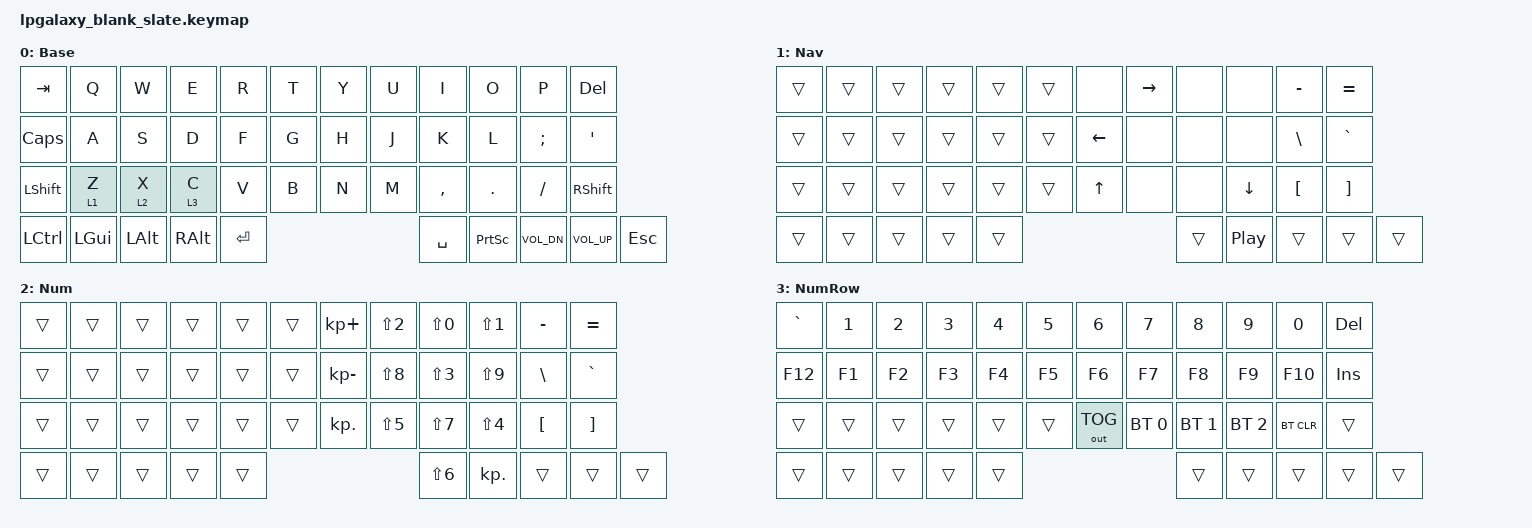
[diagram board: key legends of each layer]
/*
 * PiercingXX 4x12 ortholinear keymap — LP Galaxy Blank Slate (ZMK, 2x2u)
 *
 * Planck-footprint port of the ortho-5x12 Preonic layout: rows 2-5 carry
 * over unchanged (same 2u Enter + 2u Space thumb cluster). The lost
 * number row + F-row live on layer 3, held on the key that TYPES x
 * (physical C position) — extending the ,-key=L1 / c-key=L2 pattern.
 *
 * ARCHITECTURE: firmware sends STANDARD US-position scancodes; the
 * Piercing remap lives in the OS layout (xkb / .klc / .kcm). Do not bake
 * the letter remap into firmware or it will double-remap. Keys are named
 * here by their PHYSICAL position; the comments show what the OS renders.
 *
 * Rendered base layer:
 *   Tab  q    r    f    w   g   ;:  l   p   y   z    Del
 *   Bksp a    s    e    t   d   h   n   u   i   o    '"
 *   Shft ,L1  cL2  xL3  v   /?  k   m   b   j   .>   Shft
 *   Ctrl Super Alt AltGr [ Enter ] [ Space ] PrtSc Vol- Vol+ Esc
 *
 * L1 (hold the ,-key): vim arrows on the keys that TYPE h/j/k/l
 *     (arrows follow the letters), - = \ ` [ ] symbol column
 * L2 (hold the c-key): numpad. Digits are encoded as Shift+number-
 *     position so they still type real digits under the Piercing layout.
 *     (The Preonic's NumLock / KP-slash / KP-star row had no room here.)
 * L3 (hold the x-key): the Preonic's number row (`~ symbols/digits Del)
 *     and F-row (F12 F1-F10 Ins). Shift passes through, so Shift+top row
 *     types digits exactly like the Preonic. Right hand of the letter
 *     row: BT profile + USB/BLE output controls (ZMK-only extras).
 */

#include <behaviors.dtsi>
#include <dt-bindings/zmk/keys.h>
#include <dt-bindings/zmk/bt.h>
#include <dt-bindings/zmk/outputs.h>

/* digit -> Shift + (number key whose shifted value is that digit) */
#define PD_1 LS(N5)
#define PD_2 LS(N7)
#define PD_3 LS(N4)
#define PD_4 LS(N8)
#define PD_5 LS(N3)
#define PD_6 LS(N9)
#define PD_7 LS(N2)
#define PD_8 LS(N0)
#define PD_9 LS(N1)
#define PD_0 LS(N6)

/* comfortable held-comma / held-c / held-x repeats */
&lt { quick-tap-ms = <200>; };

/ {
    chosen {
        zmk,physical-layout = &layout_ortho_4x12_2x2u;
    };

    keymap {
        compatible = "zmk,keymap";

        base_layer {
            label = "Base";
            bindings = <
&kp TAB    &kp Q     &kp W     &kp E     &kp R    &kp T    &kp Y    &kp U    &kp I      &kp O    &kp P     &kp DEL
&kp CAPS   &kp A     &kp S     &kp D     &kp F    &kp G    &kp H    &kp J    &kp K      &kp L    &kp SEMI  &kp SQT
&kp LSHFT  &lt 1 Z   &lt 2 X   &lt 3 C   &kp V    &kp B    &kp N    &kp M    &kp COMMA  &kp DOT  &kp FSLH  &kp RSHFT
&kp LCTRL  &kp LGUI  &kp LALT  &kp RALT       &kp RET           &kp SPACE        &kp PSCRN  &kp C_VOL_DN  &kp C_VOL_UP  &kp ESC
            >;
        };

        /* arrows sit on the keys that TYPE h/j/k/l under Piercing:
         * h=Left (home row), j=Down (old . spot), k=Up (old N spot),
         * l=Right (old U spot) */
        comma_layer {
            label = "Nav";
            bindings = <
&trans     &trans    &trans    &trans    &trans   &trans   &none     &kp RIGHT  &none      &none     &kp MINUS  &kp EQUAL
&trans     &trans    &trans    &trans    &trans   &trans   &kp LEFT  &none      &none      &none     &kp BSLH   &kp GRAVE
&trans     &trans    &trans    &trans    &trans   &trans   &kp UP    &none      &none      &kp DOWN  &kp LBKT   &kp RBKT
&trans     &trans    &trans    &trans         &trans            &trans           &kp C_PLAY_PAUSE  &trans  &trans  &trans
            >;
        };

        c_layer {
            label = "Num";
            bindings = <
&trans     &trans    &trans    &trans    &trans   &trans   &kp KP_PLUS   &kp PD_7  &kp PD_8  &kp PD_9  &kp MINUS  &kp EQUAL
&trans     &trans    &trans    &trans    &trans   &trans   &kp KP_MINUS  &kp PD_4  &kp PD_5  &kp PD_6  &kp BSLH   &kp GRAVE
&trans     &trans    &trans    &trans    &trans   &trans   &kp KP_DOT    &kp PD_1  &kp PD_2  &kp PD_3  &kp LBKT   &kp RBKT
&trans     &trans    &trans    &trans         &trans            &kp PD_0         &kp KP_DOT  &trans  &trans  &trans
            >;
        };

        x_layer {
            label = "NumRow";
            bindings = <
&kp GRAVE  &kp N1    &kp N2    &kp N3    &kp N4   &kp N5   &kp N6    &kp N7    &kp N8    &kp N9    &kp N0     &kp DEL
&kp F12    &kp F1    &kp F2    &kp F3    &kp F4   &kp F5   &kp F6    &kp F7    &kp F8    &kp F9    &kp F10    &kp INS
&trans     &trans    &trans    &trans    &trans   &trans   &out OUT_TOG  &bt BT_SEL 0  &bt BT_SEL 1  &bt BT_SEL 2  &bt BT_CLR  &trans
&trans     &trans    &trans    &trans         &trans            &trans           &trans  &trans  &trans  &trans
            >;
        };
    };
};
